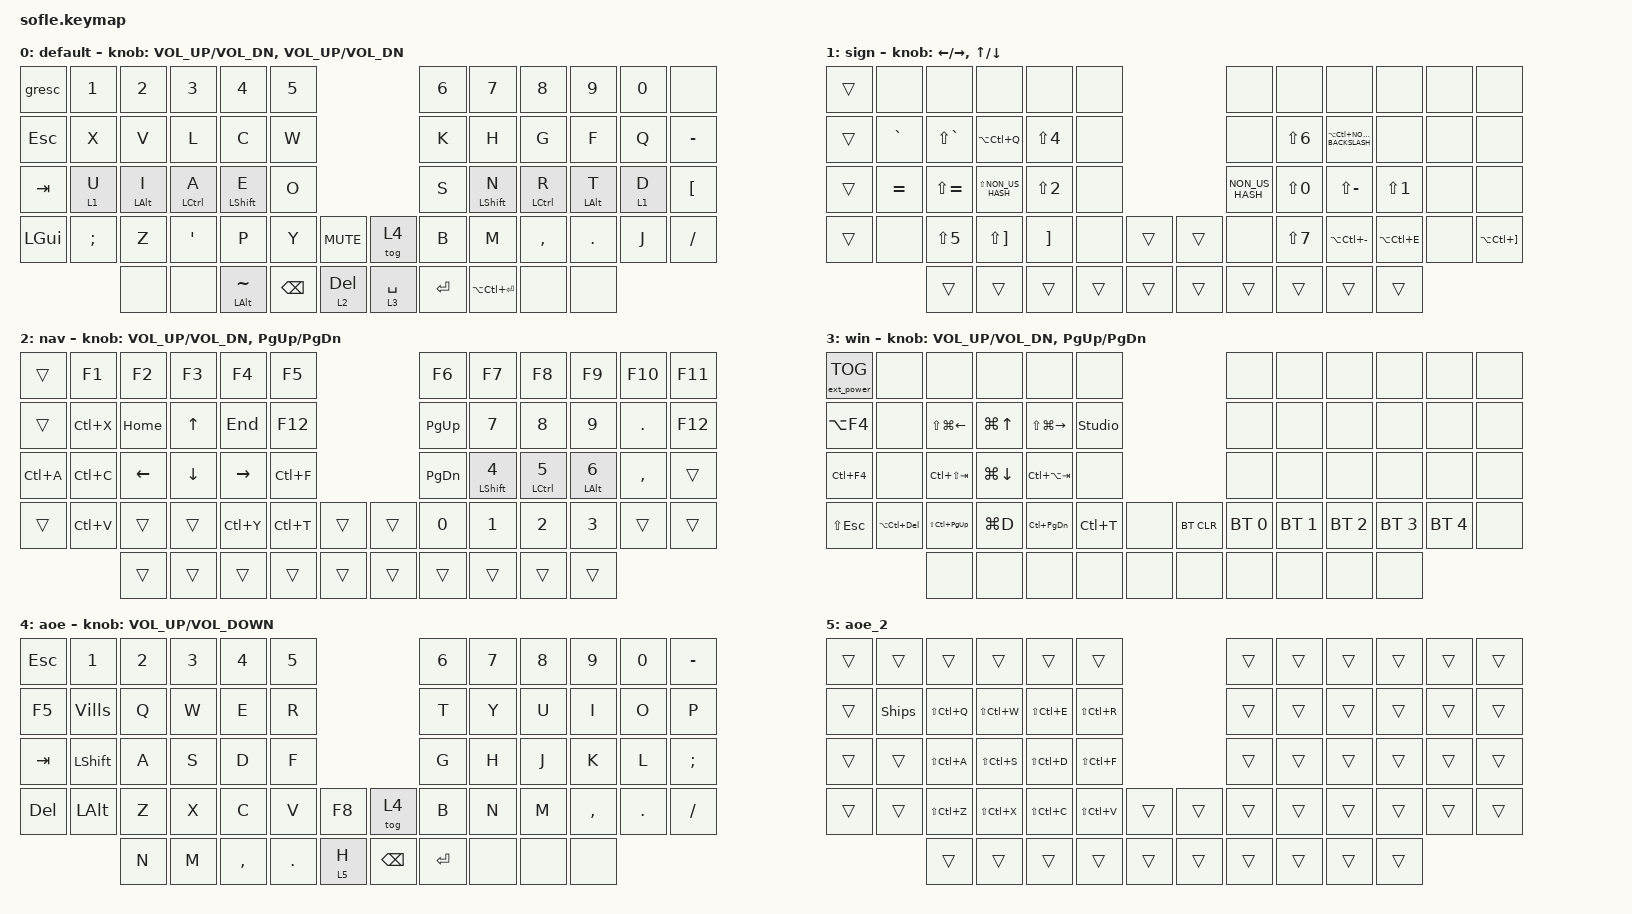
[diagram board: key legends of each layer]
/*
 * Copyright (c) 2020 The ZMK Contributors
 *
 * SPDX-License-Identifier: MIT
 */

#include <behaviors.dtsi>
#include <dt-bindings/zmk/bt.h>
#include <dt-bindings/zmk/ext_power.h>
#include <dt-bindings/zmk/keys.h>

#define BASE 0
#define LOWER 1
#define RAISE 2
#define ADJUST 3

&mt {
    tapping-term-ms = <150>;
    flavor = "tap-preferred";
    bindings = <&kp>, <&kp>;
};

&lt { tapping-term-ms = <150>; };

/ {
    // Activate ADJUST layer by pressing raise and lower

    conditional_layers { compatible = "zmk,conditional-layers"; };

    combos {
        compatible = "zmk,combos";

        KlammerAuf {
            bindings = <&kp LS(NUMBER_8)>;
            key-positions = <54 28>;
        };

        kleiner {
            bindings = <&kp NON_US_BACKSLASH>;
            key-positions = <54 26>;
        };

        eckigAuf {
            bindings = <&kp LA(LC(NUMBER_7))>;
            key-positions = <54 27>;
        };

        geschweiftAuf {
            bindings = <&kp LA(LC(NUMBER_8))>;
            key-positions = <54 25>;
        };

        KlammerZu {
            bindings = <&kp LS(NUMBER_9)>;
            key-positions = <55 31>;
        };

        groeser {
            bindings = <&kp LS(NON_US_BACKSLASH)>;
            key-positions = <55 33>;
        };

        eckigZu {
            bindings = <&kp LA(LC(NUMBER_0))>;
            key-positions = <55 32>;
        };

        geschweiftZu {
            bindings = <&kp LA(LC(NUMBER_9))>;
            key-positions = <55 34>;
        };
    };

    macros {
        Ships: Ships {
            compatible = "zmk,behavior-macro";
            #binding-cells = <0>;
            bindings =
                <&kp LC(T)>,
                <&macro_wait_time 50>,
                <&kp Q>,
                <&macro_wait_time 50>,
                <&kp Q>;

            label = "SHIPS";
        };

        Vills: Vills {
            compatible = "zmk,behavior-macro";
            #binding-cells = <0>;
            bindings =
                <&kp LC(H)>,
                <&macro_wait_time 50>,
                <&kp Q>,
                <&macro_wait_time 50>,
                <&kp Q>;

            label = "VILLS";
        };
    };

    keymap {
        compatible = "zmk,keymap";

        // swap C_MUTE & EQUAL for encoder on the right

        default {
            display-name = "default";

            // ------------------------------------------------------------------------------------------------------------
            // |   `   |  1  |  2  |  3   |  4   |  5   |                   |  6   |  7    |  8    |  9   |   0   |       |
            // |  ESC  |  Q  |  W  |  E   |  R   |  T   |                   |  Y   |  U    |  I    |  O   |   P   | BKSPC |
            // |  TAB  |  A  |  S  |  D   |  F   |  G   |                   |  H   |  J    |  K    |  L   |   ;   |   '   |
            // | SHIFT |  Z  |  X  |  C   |  V   |  B   |  MUTE  |  |       |  N   |  M    |  ,    |  .   |   /   | SHIFT |
            //               | GUI | ALT  | CTRL | LOWER|  ENTER |  | SPACE | RAISE| CTRL  | ALT   | GUI  |

            bindings = <
&gresc        &kp N1         &kp N2          &kp N3              &kp N4              &kp N5                                      &kp N6     &kp N7             &kp N8              &kp N9          &kp N0   &none
&kp ESCAPE    &kp X          &kp V           &kp L               &kp C               &kp W                                       &kp K      &kp H              &kp G               &kp F           &kp Q    &kp MINUS
&kp TAB       &lt 1 U        &mt LEFT_ALT I  &mt LEFT_CONTROL A  &mt LEFT_SHIFT E    &kp O                                       &kp S      &mt LEFT_SHIFT N   &mt LEFT_CONTROL R  &mt LEFT_ALT T  &lt 1 D  &kp LEFT_BRACKET
&kp LEFT_GUI  &kp SEMICOLON  &kp Z           &kp SINGLE_QUOTE    &kp P               &kp Y          &kp C_MUTE      &tog 4       &kp B      &kp M              &kp COMMA           &kp DOT         &kp J    &kp SLASH
                             &none           &none               &mt LEFT_ALT TILDE  &kp BACKSPACE  &lt 2 DELETE    &lt 3 SPACE  &kp ENTER  &kp LA(LC(ENTER))  &none               &none
            >;

            sensor-bindings = <&inc_dec_kp C_VOL_UP C_VOL_DN &inc_dec_kp C_VOL_UP C_VOL_DN>;
        };

        Zeichen {
            display-name = "sign";

            // TODO: Some binds are waiting for shifted keycode support.
            // ------------------------------------------------------------------------------------------------------------
            // |       |  F1 |  F2 |  F3  |  F4  |  F5  |                   |  F6  |  F7   |  F8   |  F9  |  F10  |  F11  |
            // |   `   |  1  |  2  |  3   |  4   |  5   |                   |  6   |  7    |  8    |  9   |   0   |  F12  |
            // |       |  !  |  @  |  #   |  $   |  %   |                   |  ^   |  &    |  *    |  (   |   )   |   |   |
            // |       |  =  |  -  |  +   |  {   |  }   |        |  |       |  [   |  ]    |  ;    |  :   |   \   |       |
            //               |     |      |      |      |        |  |       |      |       |       |      |

            bindings = <
&trans  &none      &none          &none                  &none              &none                     &none            &none             &none                         &none             &none  &none
&trans  &kp GRAVE  &kp LS(GRAVE)  &kp LA(LC(Q))          &kp LS(NUMBER_4)   &none                     &none            &kp LS(NUMBER_6)  &kp LA(LC(NON_US_BACKSLASH))  &none             &none  &none
&trans  &kp EQUAL  &kp LS(EQUAL)  &kp LS(NON_US_HASH)    &kp LS(NUMBER_2)   &none                     &kp NON_US_HASH  &kp LS(NUMBER_0)  &kp LS(MINUS)                 &kp LS(NUMBER_1)  &none  &none
&trans  &none      &kp LS(N5)     &kp LS(RIGHT_BRACKET)  &kp RIGHT_BRACKET  &none   &trans    &trans  &none            &kp LS(NUMBER_7)  &kp LA(LC(MINUS))             &kp LA(LC(E))     &none  &kp LA(LC(RIGHT_BRACKET))
                   &trans         &trans                 &trans             &trans  &trans    &trans  &trans           &trans            &trans                        &trans
            >;

            sensor-bindings =
                <&inc_dec_kp LEFT_ARROW RIGHT_ARROW>,
                <&inc_dec_kp UP_ARROW DOWN_ARROW>;
        };

        Navigation {
            display-name = "nav";

            // ------------------------------------------------------------------------------------------------------------
            // | BTCLR | BT1  | BT2  |  BT3  |  BT4  |  BT5 |                |      |      |       |      |       |       |
            // |       | INS  | PSCR | GUI   |       |      |                | PGUP |      |   ^   |      |       |       |
            // |       | ALT  | CTRL | SHIFT |       | CAPS |                | PGDN |   <- |   v   |  ->  |  DEL  | BKSPC |
            // |       | UNDO | CUT  | COPY  | PASTE |      |      |  |      |      |      |       |      |       |       |
            //                |      |       |       |      |      |  |      |      |      |       |      |

            bindings = <
&trans     &kp F1     &kp F2    &kp F3        &kp F4     &kp F5                       &kp F6        &kp F7               &kp F8                     &kp F9                 &kp F10    &kp F11
&trans     &kp LC(X)  &kp HOME  &kp UP_ARROW  &kp END    &kp F12                      &kp PG_UP     &kp NUMBER_7         &kp NUMBER_8               &kp NUMBER_9           &kp DOT    &kp F12
&kp LC(A)  &kp LC(C)  &kp LEFT  &kp DOWN      &kp RIGHT  &kp LC(F)                    &kp PG_DN     &mt LSHIFT NUMBER_4  &mt LEFT_CONTROL NUMBER_5  &mt LEFT_ALT NUMBER_6  &kp COMMA  &trans
&trans     &kp LC(V)  &trans    &trans        &kp LC(Y)  &kp LC(T)  &trans    &trans  &kp NUMBER_0  &kp NUMBER_1         &kp NUMBER_2               &kp NUMBER_3           &trans     &trans
                      &trans    &trans        &trans     &trans     &trans    &trans  &trans        &trans               &trans                     &trans
            >;

            sensor-bindings = <&inc_dec_kp C_VOL_UP C_VOL_DN &inc_dec_kp PG_UP PG_DN>;
        };

        Window {
            // ----------------------------------------------------------------------------------------------------------------------------
            // | BTCLR  |  BT1    |  BT2    |   BT3   |   BT4   |   BT5   |                  |      |      |       |      |       |       |
            // | EXTPWR | RGB_HUD | RGB_HUI | RGB_SAD | RGB_SAI | RGB_EFF |                  |      |      |       |      |       |       |
            // |        | RGB_BRD | RGB_BRI |         |         |         |                  |      |      |       |      |       |       |
            // |        |         |         |         |         |         | RGB_TOG | |      |      |      |       |      |       |       |
            //                    |         |         |         |         |         | |      |      |      |       |      |

            display-name = "win";
            bindings = <
&ext_power EP_TOG  &none               &none                   &none               &none                    &none                                &none         &none         &none         &none         &none         &none
&kp LA(F4)         &none               &kp LS(LG(LEFT_ARROW))  &kp LG(UP_ARROW)    &kp LS(LG(RIGHT_ARROW))  &studio_unlock                       &none         &none         &none         &none         &none         &none
&kp LC(F4)         &none               &kp LC(LS(TAB))         &kp LG(DOWN_ARROW)  &kp LC(LA(TAB))          &none                                &none         &none         &none         &none         &none         &none
&kp LS(ESCAPE)     &kp LA(LC(DELETE))  &kp LS(LC(PG_UP))       &kp LG(D)           &kp LC(PAGE_DOWN)        &kp LC(T)       &none    &bt BT_CLR  &bt BT_SEL 0  &bt BT_SEL 1  &bt BT_SEL 2  &bt BT_SEL 3  &bt BT_SEL 4  &none
                                       &none                   &none               &none                    &none           &none    &none       &none         &none         &none         &none
            >;

            sensor-bindings = <&inc_dec_kp C_VOL_UP C_VOL_DN &inc_dec_kp PG_UP PG_DN>;
        };

        aoe {
            bindings = <
&kp ESCAPE  &kp N1          &kp N2  &kp N3  &kp N4     &kp N5                        &kp N6     &kp N7  &kp N8  &kp N9     &kp N0   &kp MINUS
&kp F5      &Vills          &kp Q   &kp W   &kp E      &kp R                         &kp T      &kp Y   &kp U   &kp I      &kp O    &kp P
&kp TAB     &kp LEFT_SHIFT  &kp A   &kp S   &kp D      &kp F                         &kp G      &kp H   &kp J   &kp K      &kp L    &kp SEMI
&kp DELETE  &kp LEFT_ALT    &kp Z   &kp X   &kp C      &kp V    &kp F8     &tog 4    &kp B      &kp N   &kp M   &kp COMMA  &kp DOT  &kp FSLH
                            &kp N   &kp M   &kp COMMA  &kp DOT  &lt 5 H    &kp BSPC  &kp ENTER  &none   &none   &none
            >;

            sensor-bindings = <&inc_dec_kp C_VOLUME_UP C_VOLUME_DOWN>;
            label = "aoe";
        };

        aoe_2 {
            bindings = <
&trans  &trans  &trans         &trans         &trans         &trans                           &trans  &trans  &trans  &trans  &trans  &trans
&trans  &Ships  &kp LS(LC(Q))  &kp LS(LC(W))  &kp LS(LC(E))  &kp LS(LC(R))                    &trans  &trans  &trans  &trans  &trans  &trans
&trans  &trans  &kp LS(LC(A))  &kp LS(LC(S))  &kp LS(LC(D))  &kp LS(LC(F))                    &trans  &trans  &trans  &trans  &trans  &trans
&trans  &trans  &kp LS(LC(Z))  &kp LS(LC(X))  &kp LS(LC(C))  &kp LS(LC(V))  &trans    &trans  &trans  &trans  &trans  &trans  &trans  &trans
                &trans         &trans         &trans         &trans         &trans    &trans  &trans  &trans  &trans  &trans
            >;

            label = "aoe_2";
        };
    };
};
